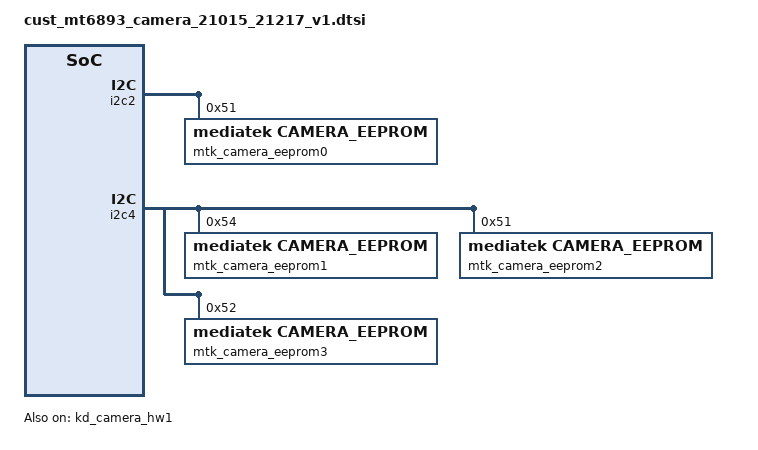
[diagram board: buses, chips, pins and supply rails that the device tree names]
/*
 * Copyright (c) 2019 MediaTek Inc.
 *
 * This program is free software; you can redistribute it and/or modify
 * it under the terms of the GNU General Public License version 2 as
 * published by the Free Software Foundation.
 *
 * This program is distributed in the hope that it will be useful,
 * but WITHOUT ANY WARRANTY; without even the implied warranty of
 * MERCHANTABILITY or FITNESS FOR A PARTICULAR PURPOSE.  See the
 * GNU General Public License for more details.
 */
/* CAMERA GPIO standardization */
&pio {
	/*Camera Main:IMX766*/
	camera_pins_cam0_rst_0: cam0@0 {
		pins_cmd_dat {
			pinmux = <PINMUX_GPIO144__FUNC_GPIO144>;
			slew-rate = <1>;
			output-low;
		};
	};
	camera_pins_cam0_rst_1: cam0@1 {
		pins_cmd_dat {
			pinmux = <PINMUX_GPIO144__FUNC_GPIO144>;
			slew-rate = <1>;
			output-high;
		};
	};
	camera_pins_cam0_vcamd_0: cam0@vcam0 {
		pins_cmd_dat {
			pinmux = <PINMUX_GPIO147__FUNC_GPIO147>;
			slew-rate = <1>;
			output-low;
		};
	};
	camera_pins_cam0_vcamd_1: cam0@vcam1 {
		pins_cmd_dat {
			pinmux = <PINMUX_GPIO147__FUNC_GPIO147>;
			slew-rate = <1>;
			output-high;
		};
	};
	camera_pins_cam0_vcamd1_0: cam0@vcam2 {
		pins_cmd_dat {
			pinmux = <PINMUX_GPIO148__FUNC_GPIO148>;
			slew-rate = <1>;
			output-low;
		};
	};
	camera_pins_cam0_vcamd1_1: cam0@vcam3 {
		pins_cmd_dat {
			pinmux = <PINMUX_GPIO148__FUNC_GPIO148>;
			slew-rate = <1>;
			output-high;
		};
	};
	camera_pins_cam0_vcama_0: cam0@vcam4 {
		pins_cmd_dat {
			pinmux = <PINMUX_GPIO186__FUNC_GPIO186>;
			slew-rate = <1>;
			output-low;
		};
	};
	camera_pins_cam0_vcama_1: cam0@vcam5 {
		pins_cmd_dat {
			pinmux = <PINMUX_GPIO186__FUNC_GPIO186>;
			slew-rate = <1>;
			output-high;
		};
	};
	camera_pins_cam0_mclk_off: camera_pins_cam0_mclk_off {
		pins_cmd_dat {
			pinmux = <PINMUX_GPIO149__FUNC_GPIO149>;
			drive-strength = <1>;
		};
	};
	camera_pins_cam0_mclk_2ma: camera_pins_cam0_mclk_2ma {
		pins_cmd_dat {
			pinmux = <PINMUX_GPIO149__FUNC_CMMCLK0>;
			drive-strength = <0>;
		};
	};
	camera_pins_cam0_mclk_4ma: camera_pins_cam0_mclk_4ma {
		pins_cmd_dat {
			pinmux = <PINMUX_GPIO149__FUNC_CMMCLK0>;
			drive-strength = <1>;
		};
	};
	camera_pins_cam0_mclk_6ma: camera_pins_cam0_mclk_6ma {
		pins_cmd_dat {
			pinmux = <PINMUX_GPIO149__FUNC_CMMCLK0>;
			drive-strength = <2>;
		};
	};
	camera_pins_cam0_mclk_8ma: camera_pins_cam0_mclk_8ma {
		pins_cmd_dat {
			pinmux = <PINMUX_GPIO149__FUNC_CMMCLK0>;
			drive-strength = <3>;
		};
	};

	/*Camera Sub:IMX709 Viewing mode*/
	camera_pins_cam1_rst_0: cam1@0 {
		pins_cmd_dat {
			pinmux = <PINMUX_GPIO143__FUNC_GPIO143>;
			slew-rate = <1>;
			output-low;
		};
	};
	camera_pins_cam1_rst_1: cam1@1 {
		pins_cmd_dat {
			pinmux = <PINMUX_GPIO143__FUNC_GPIO143>;
			slew-rate = <1>;
			output-high;
		};
	};
	camera_pins_cam1_pnd_0: cam1@2 {
		pins_cmd_dat {
			pinmux = <PINMUX_GPIO131__FUNC_GPIO131>;
			slew-rate = <1>;
			output-low;
		};
	};
	camera_pins_cam1_pnd_1: cam1@3 {
		pins_cmd_dat {
			pinmux = <PINMUX_GPIO131__FUNC_GPIO131>;
			slew-rate = <1>;
			output-high;
		};
	};

	camera_pins_cam1_mclk_off: camera_pins_cam1_mclk_off {
		pins_cmd_dat {
			pinmux = <PINMUX_GPIO137__FUNC_GPIO137>;
			drive-strength = <1>;
		};
	};
	camera_pins_cam1_mclk_2ma: camera_pins_cam1_mclk_2ma {
		pins_cmd_dat {
			pinmux = <PINMUX_GPIO137__FUNC_CMMCLK4>;
			drive-strength = <0>;
		};
	};
	camera_pins_cam1_mclk_4ma: camera_pins_cam1_mclk_4ma {
		pins_cmd_dat {
			pinmux = <PINMUX_GPIO137__FUNC_CMMCLK4>;
			drive-strength = <1>;
		};
	};
	camera_pins_cam1_mclk_6ma: camera_pins_cam1_mclk_6ma {
		pins_cmd_dat {
			pinmux = <PINMUX_GPIO137__FUNC_CMMCLK4>;
			drive-strength = <2>;
		};
	};
	camera_pins_cam1_mclk_8ma: camera_pins_cam1_mclk_8ma {
		pins_cmd_dat {
			pinmux = <PINMUX_GPIO137__FUNC_CMMCLK4>;
			drive-strength = <3>;
		};
	};

	/*Camera Main2: IMX355*/
	camera_pins_cam2_rst_0: cam2@0 {
		pins_cmd_dat {
			pinmux = <PINMUX_GPIO145__FUNC_GPIO145>;
			slew-rate = <1>;
			output-low;
		};
	};
	camera_pins_cam2_rst_1: cam2@1 {
		pins_cmd_dat {
			pinmux = <PINMUX_GPIO145__FUNC_GPIO145>;
			slew-rate = <1>;
			output-high;
		};
	};

	camera_pins_cam2_mclk_off: camera_pins_cam2_mclk_off {
		pins_cmd_dat {
			pinmux = <PINMUX_GPIO150__FUNC_GPIO150>;
			drive-strength = <1>;
		};
	};
	camera_pins_cam2_mclk_2ma: camera_pins_cam2_mclk_2ma {
		pins_cmd_dat {
			pinmux = <PINMUX_GPIO150__FUNC_CMMCLK1>;
			drive-strength = <0>;
		};
	};
	camera_pins_cam2_mclk_4ma: camera_pins_cam2_mclk_4ma {
		pins_cmd_dat {
			pinmux = <PINMUX_GPIO150__FUNC_CMMCLK1>;
			drive-strength = <1>;
		};
	};
	camera_pins_cam2_mclk_6ma: camera_pins_cam2_mclk_6ma {
		pins_cmd_dat {
			pinmux = <PINMUX_GPIO150__FUNC_CMMCLK1>;
			drive-strength = <2>;
		};
	};
	camera_pins_cam2_mclk_8ma: camera_pins_cam2_mclk_8ma {
		pins_cmd_dat {
			pinmux = <PINMUX_GPIO150__FUNC_CMMCLK1>;
			drive-strength = <3>;
		};
	};

	/*Camera Sub2: ov02b10*/
	camera_pins_cam3_rst_0: cam3@0 {
		pins_cmd_dat {
			pinmux = <PINMUX_GPIO130__FUNC_GPIO130>;
			slew-rate = <1>;
			output-low;
		};
	};

	camera_pins_cam3_rst_1: cam3@1 {
		pins_cmd_dat {
			pinmux = <PINMUX_GPIO130__FUNC_GPIO130>;
			slew-rate = <1>;
			output-high;
		};
	};
	camera_pins_cam3_mclk_off: camera_pins_cam3_mclk_off {
		pins_cmd_dat {
			pinmux = <PINMUX_GPIO151__FUNC_GPIO151>;
			drive-strength = <1>;
		};
	};
	camera_pins_cam3_mclk_2ma: camera_pins_cam3_mclk_2ma {
		pins_cmd_dat {
			pinmux = <PINMUX_GPIO151__FUNC_CMMCLK2>;
			drive-strength = <0>;
		};
	};
	camera_pins_cam3_mclk_4ma: camera_pins_cam3_mclk_4ma {
		pins_cmd_dat {
			pinmux = <PINMUX_GPIO151__FUNC_CMMCLK2>;
			drive-strength = <1>;
		};
	};
	camera_pins_cam3_mclk_6ma: camera_pins_cam3_mclk_6ma {
		pins_cmd_dat {
			pinmux = <PINMUX_GPIO151__FUNC_CMMCLK2>;
			drive-strength = <2>;
		};
	};
	camera_pins_cam3_mclk_8ma: camera_pins_cam3_mclk_8ma {
		pins_cmd_dat {
			pinmux = <PINMUX_GPIO151__FUNC_CMMCLK2>;
			drive-strength = <3>;
		};
	};

	fan53870_gpio_enable: fan53870_gpio_enable@gpio29 {
			pins_cmd_dat {
			pinmux = <PINMUX_GPIO29__FUNC_GPIO29>;
			output-high;
		};
	};

	camera_pins_default: camdefault {
	};
};
&kd_camera_hw1 {
	pinctrl-names = "default",
					"cam0_rst0", 			"cam0_rst1",
					"cam0_ldo_vcamd_0", 	"cam0_ldo_vcamd_1",
					"cam0_ldo_vcamd1_0",	"cam0_ldo_vcamd1_1",
					"cam0_ldo_vcama_0",		"cam0_ldo_vcama_1",
					"cam0_mclk_off",
					"cam0_mclk_2mA", 		"cam0_mclk_4mA",
					"cam0_mclk_6mA", 		"cam0_mclk_8mA",

					"cam1_rst0", 			"cam1_rst1",
					"cam1_pnd0", 			"cam1_pnd1",
					"cam1_mclk_off",
					"cam1_mclk_2mA", 		"cam1_mclk_4mA",
					"cam1_mclk_6mA", 		"cam1_mclk_8mA",

					"cam2_rst0", 			"cam2_rst1",
					"cam2_mclk_off",
					"cam2_mclk_2mA", 		"cam2_mclk_4mA",
					"cam2_mclk_6mA", 		"cam2_mclk_8mA",

					"cam3_rst0", 			"cam3_rst1",
					"cam3_mclk_off",
					"cam3_mclk_2mA", 		"cam3_mclk_4mA",
					"cam3_mclk_6mA", 		"cam3_mclk_8mA",

					"fan53870_chip_enable";

	pinctrl-0 = <&camera_pins_default>;
	pinctrl-1 = <&camera_pins_cam0_rst_0>;
	pinctrl-2 = <&camera_pins_cam0_rst_1>;
	pinctrl-3 = <&camera_pins_cam0_vcamd_0>;
	pinctrl-4 = <&camera_pins_cam0_vcamd_1>;
	pinctrl-5 = <&camera_pins_cam0_vcamd1_0>;
	pinctrl-6 = <&camera_pins_cam0_vcamd1_1>;
	pinctrl-7 = <&camera_pins_cam0_vcama_0>;
	pinctrl-8 = <&camera_pins_cam0_vcama_1>;
	pinctrl-9 = <&camera_pins_cam0_mclk_off>;
	pinctrl-10 = <&camera_pins_cam0_mclk_2ma>;
	pinctrl-11 = <&camera_pins_cam0_mclk_4ma>;
	pinctrl-12 = <&camera_pins_cam0_mclk_6ma>;
	pinctrl-13 = <&camera_pins_cam0_mclk_8ma>;

	pinctrl-14 = <&camera_pins_cam1_rst_0>;
	pinctrl-15 = <&camera_pins_cam1_rst_1>;
	pinctrl-16 = <&camera_pins_cam1_pnd_0>;
	pinctrl-17 = <&camera_pins_cam1_pnd_1>;
	pinctrl-18 = <&camera_pins_cam1_mclk_off>;
	pinctrl-19 = <&camera_pins_cam1_mclk_2ma>;
	pinctrl-20 = <&camera_pins_cam1_mclk_4ma>;
	pinctrl-21 = <&camera_pins_cam1_mclk_6ma>;
	pinctrl-22 = <&camera_pins_cam1_mclk_8ma>;

	pinctrl-23 = <&camera_pins_cam2_rst_0>;
	pinctrl-24 = <&camera_pins_cam2_rst_1>;
	pinctrl-25 = <&camera_pins_cam2_mclk_off>;
	pinctrl-26 = <&camera_pins_cam2_mclk_2ma>;
	pinctrl-27 = <&camera_pins_cam2_mclk_4ma>;
	pinctrl-28 = <&camera_pins_cam2_mclk_6ma>;
	pinctrl-29 = <&camera_pins_cam2_mclk_8ma>;

	pinctrl-30 = <&camera_pins_cam3_rst_0>;
	pinctrl-31 = <&camera_pins_cam3_rst_1>;
	pinctrl-32 = <&camera_pins_cam3_mclk_off>;
	pinctrl-33 = <&camera_pins_cam3_mclk_2ma>;
	pinctrl-34 = <&camera_pins_cam3_mclk_4ma>;
	pinctrl-35 = <&camera_pins_cam3_mclk_6ma>;
	pinctrl-36 = <&camera_pins_cam3_mclk_8ma>;

	pinctrl-37 = <&fan53870_gpio_enable>;

	cam0_vcamio-supply = <&mt_pmic_vcamio_ldo_reg>;
	cam1_vcamio-supply = <&mt_pmic_vcamio_ldo_reg>;
	cam2_vcamio-supply = <&mt_pmic_vcamio_ldo_reg>;
	cam3_vcamio-supply = <&mt_pmic_vcamio_ldo_reg>;

	cam0_enable_sensor = "imx766_mipi_raw21015";
	cam1_enable_sensor = "imx709_mipi_raw21015";
	cam2_enable_sensor = "imx355_mipi_raw21015";
	cam3_enable_sensor = "ov02b10_mipi_raw21015";
	cam4_enable_sensor = "imx709_mipi_mono21015";
	status = "okay";
};
/* CAMERA GPIO end */

/* CAMERA EEPROM */
&i2c2 {
	mtk_camera_eeprom0:camera_eeprom0@51 {
		compatible = "mediatek,camera_eeprom";
		reg = <0x51>;
		status = "okay";
	};
};
&i2c4 {
	mtk_camera_eeprom1:camera_eeprom1@54 {
		compatible = "mediatek,camera_eeprom";
		reg = <0x54>;
		status = "okay";
	};
};
&i2c4 {
	mtk_camera_eeprom2:camera_eeprom2@51 {
		compatible = "mediatek,camera_eeprom";
		reg = <0x51>;
		status = "okay";
	};
};
&i2c4 {
	mtk_camera_eeprom3:camera_eeprom3@52 {
		compatible = "mediatek,camera_eeprom";
		reg = <0x52>;
		status = "okay";
	};
};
